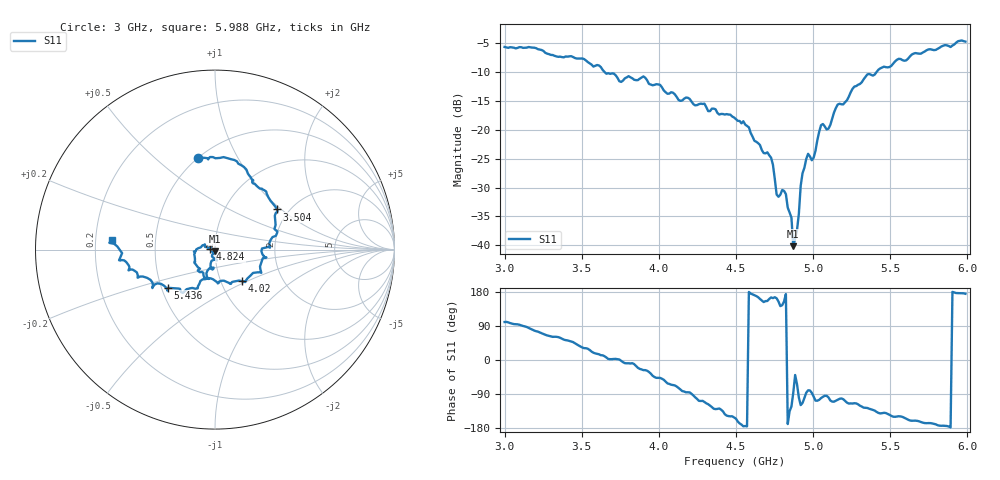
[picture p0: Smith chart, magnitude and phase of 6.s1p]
! Saved from nanovna library
# Hz S RI R 50
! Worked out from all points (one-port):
!   250 points, 3 GHz to 5.988 GHz, reference 50 ohm
!   lowest |S11| = -40.1 dB at 4.872 GHz (marker M1), VSWR 1.02, Z = 50.1 - j0.983 ohm
!   |S11| at or under -10 dB: 3.647 GHz to 5.413 GHz (1.766 GHz wide, 39 % of centre)
!   S11 on the Smith chart (normalised r, x): 3 GHz: 0.50, +0.70; 3.504 GHz: 1.74, +0.94; 4.02 GHz: 1.26, -0.47; 4.824 GHz: 0.95, +0.01; 5.436 GHz: 0.54, -0.26; 5.988 GHz: 0.27, +0.04
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3e9  -0.092 0.5099
3.156e9  0.048 0.5153
3.384e9  0.2491 0.3405
3.504e9  0.3457 0.224
3.672e9  0.3072 0.0145
3.756e9  0.2584 -0.0092
3.9e9  0.2578 -0.1296
4.02e9  0.1514 -0.1763
4.128e9  0.0504 -0.1734
4.5e9  -0.1115 -0.0527
4.584e9  -0.1047 0.00083
4.728e9  -0.0553 0.0148
4.764e9  -0.0262 0.00814
4.824e9  -0.0276 0.00289
4.86e9  -0.00938 -0.0146
4.872e9  0.000687 -0.00982
4.896e9  0.00605 -0.0121
4.92e9  -0.0159 -0.0286
4.932e9  -0.0167 -0.0386
4.968e9  0.0106 -0.0609
5.004e9  -0.00661 -0.0569
5.052e9  -0.0199 -0.1074
5.1e9  -0.0152 -0.1008
5.16e9  -0.0417 -0.1595
5.244e9  -0.0873 -0.191
5.436e9  -0.2631 -0.213
5.616e9  -0.3787 -0.1572
5.988e9  -0.5743 0.0528
